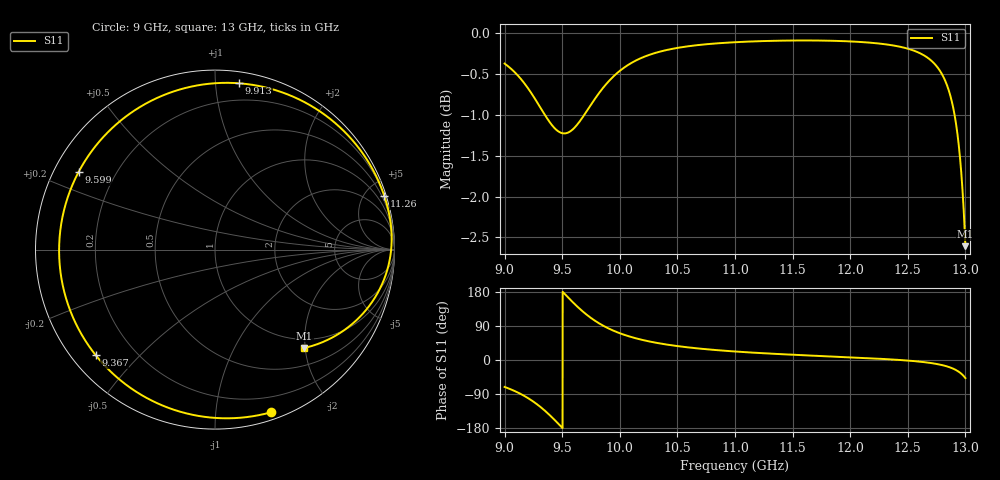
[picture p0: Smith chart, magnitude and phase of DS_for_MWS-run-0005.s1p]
! TOUCHSTONE file generated by CST DESIGN STUDIO
! Date and time: Tue Feb  4 17:52:49 2025
! Project name: C:\Work\MatlabApps\UnitCellOptimizationMatlab\CST\unitcell.cst
! Tree item: Tasks\Sweep1\SPara1\S-Parameters
! Header version: 2024
! Port assignment regex: !\s*Touchstone port\s*([0-9]+)\s*=\s*(CST MWS port|CST DES external port|CST DES block port)\s*(.+)\s* \(\"(.*)\"\)(\s*mode\s*([0-9]+))?.*
! Touchstone port assignment:
! Touchstone port 1 = CST DES external port 1 ("")
# GHz S MA R 50
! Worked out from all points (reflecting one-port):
!   4001 points, 9 GHz to 13 GHz, reference 50 ohm
!   lowest |S11| = -2.6 dB at 13 GHz (marker M1), VSWR 6.71, Z = 40.9 - j99.3 ohm
!   phase of S11 starts at -71 deg and turns -337 deg over the sweep
!   S11 on the Smith chart (normalised r, x): 9 GHz: 0.06, -1.40; 9.367 GHz: 0.07, -0.38; 9.599 GHz: 0.07, +0.26; 9.913 GHz: 0.08, +1.15; 11.26 GHz: 0.23, +6.46; 13 GHz: 0.82, -1.99
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9  0.9584 -71.1
9.099  0.945 -83.5
9.213  0.9235 -102.4
9.292  0.9052 -119.3
9.367  0.8875 -138.5
9.437  0.8745 -159.0
9.5  0.8688 -178.8
9.548  0.8693 166.0
9.599  0.8744 150.4
9.67  0.887 130.3
9.742  0.9027 112.7
9.82  0.9194 96.8
9.913  0.9363 81.7
10  0.9486 70.6
10.102  0.9594 60.4
10.216  0.9679 51.6
10.347  0.9746 43.7
10.5  0.9798 36.7
10.721  0.9845 29.3
11  0.9877 22.4
11.262  0.9894 17.6
11.5  0.9901 13.9
12  0.9888 7.1
12.5  0.9788 -1.5
12.704  0.9624 -8.2
12.849  0.9259 -17.7
12.931  0.8678 -28.7
13  0.7407 -47.7
